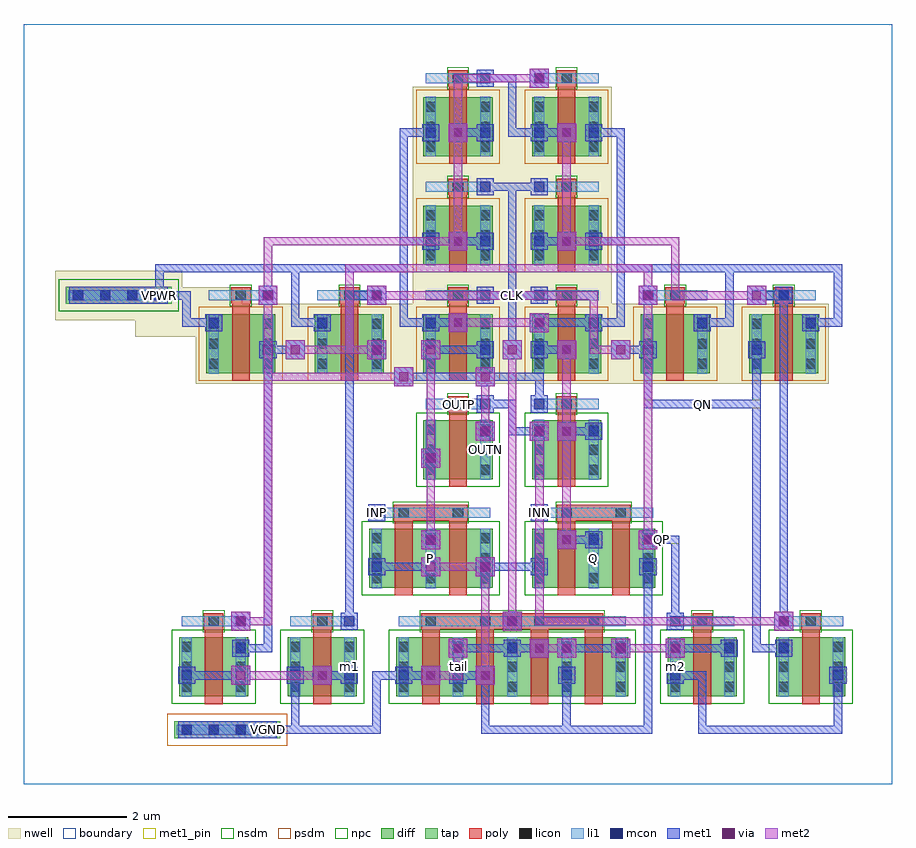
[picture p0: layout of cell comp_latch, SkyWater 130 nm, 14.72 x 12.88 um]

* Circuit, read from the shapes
.subckt comp_latch CLK INN INP OUTN OUTP P Q QN QP VGND VPWR m1 m2 tail
XM1 QP OUTN m1 VGND sky130_fd_pr__nfet_01v8 w=1 l=0.3
XM2 m1 QN VGND VGND sky130_fd_pr__nfet_01v8 w=1 l=0.3
XM3 P INP tail VGND sky130_fd_pr__nfet_01v8 w=1 l=0.3 m=2
XM4 tail CLK VGND VGND sky130_fd_pr__nfet_01v8 w=1 l=0.3 m=4
XM5 OUTN OUTP P VGND sky130_fd_pr__nfet_01v8 w=1 l=0.3
XM6 Q INN tail VGND sky130_fd_pr__nfet_01v8 w=1 l=0.3 m=2
XM7 Q OUTN OUTP VGND sky130_fd_pr__nfet_01v8 w=1 l=0.3
XM8 VGND QP m2 VGND sky130_fd_pr__nfet_01v8 w=1 l=0.3
XM9 m2 OUTP QN VGND sky130_fd_pr__nfet_01v8 w=1 l=0.3
XM10 QP OUTN VPWR VPWR sky130_fd_pr__pfet_01v8 w=1 l=0.3
XM11 QP QN VPWR VPWR sky130_fd_pr__pfet_01v8 w=1 l=0.3
XM12 P CLK VPWR VPWR sky130_fd_pr__pfet_01v8 w=1 l=0.3
XM13 OUTN CLK VPWR VPWR sky130_fd_pr__pfet_01v8 w=1 l=0.3
XM14 OUTN OUTP VPWR VPWR sky130_fd_pr__pfet_01v8 w=1 l=0.3
XM15 VPWR CLK Q VPWR sky130_fd_pr__pfet_01v8 w=1 l=0.3
XM16 VPWR CLK OUTP VPWR sky130_fd_pr__pfet_01v8 w=1 l=0.3
XM17 VPWR OUTN OUTP VPWR sky130_fd_pr__pfet_01v8 w=1 l=0.3
XM18 VPWR QP QN VPWR sky130_fd_pr__pfet_01v8 w=1 l=0.3
XM19 VPWR OUTP QN VPWR sky130_fd_pr__pfet_01v8 w=1 l=0.3
.ends

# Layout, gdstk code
import gdstk
lib = gdstk.Library(unit=1e-6, precision=1e-09)
def R(c, l, rs):  # rectangles x0, y0, x1, y1
    for r in rs: c.add(gdstk.rectangle(r[:2], r[2:], *l))
def A(c, l, x, y, w, h, nx, ny, dx, dy):  # array of equal rectangles
    R(c, l, [(x+i*dx, y+j*dy, x+i*dx+w, y+j*dy+h) for i in range(nx) for j in range(ny)])
nwell = (64, 20)
diff = (65, 20)
tap = (65, 44)
poly = (66, 20)
licon = (66, 44)
li1 = (67, 20)
mcon = (67, 44)
met1_pin = (68, 16)
met1 = (68, 20)
via = (68, 44)
met2 = (69, 20)
nsdm = (93, 44)
psdm = (94, 20)
npc = (95, 20)
boundary = (235, 4)

comp_latch = lib.new_cell('comp_latch')
R(comp_latch, nwell, [(2.915,6.78,13.645,7.58), (1.893,7.58,13.645,7.86), (0.535,7.86,13.645,8.14), (0.535,8.14,3.707,8.42), (6.595,8.14,9.965,11.82), (0.535,8.42,2.685,8.7)])
A(comp_latch, diff, 3.095, 6.96, 1.17, 1, 6, 1, 1.84, 0)
R(comp_latch, diff, [(2.635,1.485,3.805,2.485), (4.475,1.485,5.645,2.485), (6.315,1.485,10.245,2.485), (10.915,1.485,12.085,2.485), (12.755,1.485,13.925,2.485), (5.855,3.325,7.945,4.325), (8.615,3.325,10.705,4.325), (6.775,5.165,7.945,6.165), (8.615,5.165,9.785,6.165), (6.775,8.8,7.945,9.8), (8.615,8.8,9.785,9.8), (6.775,10.64,7.945,11.64), (8.615,10.64,9.785,11.64)])
R(comp_latch, tap, [(2.555,0.775,4.345,1.065), (0.715,8.135,2.505,8.425)])
A(comp_latch, poly, 3.07, 1.355, 0.3, 1.405, 3, 1, 1.84, 0)
A(comp_latch, poly, 7.67, 1.355, 0.3, 1.405, 3, 1, 0.92, 0)
A(comp_latch, poly, 3.53, 6.83, 0.3, 1.45, 6, 1, 1.84, 0)
A(comp_latch, poly, 3.515, 8.145, 0.33, 0.27, 6, 1, 1.84, 0)
R(comp_latch, poly, [(11.35,1.355,11.65,2.76), (13.19,1.355,13.49,2.76), (3.055,2.625,3.385,2.895), (4.895,2.625,5.225,2.895), (6.735,2.625,9.825,2.895), (11.335,2.625,11.665,2.895), (13.175,2.625,13.505,2.895), (6.29,3.195,6.59,4.6), (7.21,3.195,7.51,4.6), (9.05,3.195,9.35,4.6), (9.97,3.195,10.27,4.6), (6.275,4.465,7.525,4.735), (9.035,4.465,10.285,4.735), (7.21,5.035,7.51,6.44), (9.05,5.035,9.35,6.44), (7.195,6.305,7.525,6.575), (9.035,6.305,9.365,6.575), (7.21,8.67,7.51,10.12), (9.05,8.67,9.35,10.12), (7.195,9.985,7.525,10.255), (9.035,9.985,9.365,10.255), (7.21,10.51,7.51,11.96), (9.05,10.51,9.35,11.96), (7.195,11.825,7.525,12.095), (9.035,11.825,9.365,12.095)])
A(comp_latch, licon, 2.675, 0.835, 0.17, 0.17, 4, 1, 0.46, 0)
A(comp_latch, licon, 2.675, 1.56, 0.17, 0.17, 13, 3, 0.92, 0.34)
A(comp_latch, licon, 3.135, 2.675, 0.17, 0.17, 3, 1, 1.84, 0)
A(comp_latch, licon, 7.735, 2.675, 0.17, 0.17, 3, 1, 0.92, 0)
A(comp_latch, licon, 5.895, 3.4, 0.17, 0.17, 6, 3, 0.92, 0.34)
A(comp_latch, licon, 6.815, 5.24, 0.17, 0.17, 4, 3, 0.92, 0.34)
A(comp_latch, licon, 3.135, 7.035, 0.17, 0.17, 12, 3, 0.92, 0.34)
A(comp_latch, licon, 0.835, 8.195, 0.17, 0.17, 4, 1, 0.46, 0)
A(comp_latch, licon, 3.595, 8.195, 0.17, 0.17, 6, 1, 1.84, 0)
A(comp_latch, licon, 6.815, 8.875, 0.17, 0.17, 4, 3, 0.92, 0.34)
A(comp_latch, licon, 6.815, 10.715, 0.17, 0.17, 4, 3, 0.92, 0.34)
R(comp_latch, licon, [(11.415,2.675,11.585,2.845), (13.255,2.675,13.425,2.845), (6.355,4.515,6.525,4.685), (7.275,4.515,7.445,4.685), (9.115,4.515,9.285,4.685), (10.035,4.515,10.205,4.685), (7.275,6.355,7.445,6.525), (9.115,6.355,9.285,6.525), (7.275,10.035,7.445,10.205), (9.115,10.035,9.285,10.205), (7.275,11.875,7.445,12.045), (9.115,11.875,9.285,12.045)])
A(comp_latch, li1, 2.675, 1.48, 0.17, 1.01, 13, 1, 0.92, 0)
A(comp_latch, li1, 5.895, 3.32, 0.17, 1.01, 6, 1, 0.92, 0)
A(comp_latch, li1, 6.815, 5.16, 0.17, 1.01, 4, 2, 0.92, 3.635)
A(comp_latch, li1, 3.135, 6.955, 0.17, 1.01, 12, 1, 0.92, 0)
A(comp_latch, li1, 3.135, 8.195, 1.09, 0.17, 6, 1, 1.84, 0)
A(comp_latch, li1, 6.815, 10.635, 0.17, 1.01, 4, 1, 0.92, 0)
R(comp_latch, li1, [(2.595,0.835,4.305,1.005), (2.675,2.675,3.765,2.845), (4.515,2.675,5.605,2.845), (6.355,2.675,10.205,2.845), (10.955,2.675,12.045,2.845), (12.795,2.675,13.885,2.845), (5.895,4.515,7.905,4.685), (8.655,4.515,10.665,4.685), (6.815,6.355,7.905,6.525), (8.655,6.355,9.745,6.525), (0.755,8.195,2.465,8.365), (6.815,10.035,7.905,10.205), (8.655,10.035,9.745,10.205), (6.815,11.875,7.905,12.045), (8.655,11.875,9.745,12.045)])
A(comp_latch, mcon, 2.675, 0.835, 0.17, 0.17, 4, 1, 0.46, 0)
A(comp_latch, mcon, 4.515, 1.755, 0.17, 0.17, 4, 1, 0.92, 0)
A(comp_latch, mcon, 8.195, 2.215, 0.17, 0.17, 3, 1, 1.84, 0)
A(comp_latch, mcon, 5.435, 2.675, 0.17, 0.17, 3, 1, 2.76, 0)
A(comp_latch, mcon, 8.655, 4.515, 0.17, 0.17, 1, 5, 0, 1.84)
A(comp_latch, mcon, 7.735, 5.895, 0.17, 0.17, 3, 1, 0.92, 0)
A(comp_latch, mcon, 4.055, 7.275, 0.17, 0.17, 3, 2, 1.84, 0.92)
A(comp_latch, mcon, 8.655, 7.275, 0.17, 0.17, 3, 1, 1.84, 0)
A(comp_latch, mcon, 3.135, 7.735, 0.17, 0.17, 3, 1, 1.84, 0)
A(comp_latch, mcon, 9.575, 7.735, 0.17, 0.17, 3, 1, 1.84, 0)
A(comp_latch, mcon, 0.835, 8.195, 0.17, 0.17, 4, 1, 0.46, 0)
A(comp_latch, mcon, 6.815, 9.115, 0.17, 0.17, 4, 2, 0.92, 1.84)
R(comp_latch, mcon, [(2.675,1.755,2.845,1.925), (9.115,1.755,9.285,1.925), (10.955,1.755,11.125,1.925), (13.715,1.755,13.885,1.925), (3.595,2.215,3.765,2.385), (12.795,2.215,12.965,2.385), (3.595,2.675,3.765,2.845), (12.795,2.675,12.965,2.845), (5.895,3.595,6.065,3.765), (7.735,3.595,7.905,3.765), (8.655,3.595,8.825,3.765), (10.495,3.595,10.665,3.765), (6.815,4.055,6.985,4.225), (9.575,4.055,9.745,4.225), (5.895,4.515,6.065,4.685), (6.815,5.435,6.985,5.605), (7.735,6.355,7.905,6.525), (10.495,8.195,10.665,8.365), (12.795,8.195,12.965,8.365), (7.735,10.035,7.905,10.205), (7.735,11.875,7.905,12.045)])
R(comp_latch, met1_pin, [(4.07,0.85,4.21,0.99), (10.51,4.07,11.11,4.21), (5.835,4.455,6.125,4.745), (8.595,4.455,8.885,4.745), (10.51,6.37,12.49,6.51), (2.23,8.21,2.37,8.35), (7.75,8.21,8.81,8.35)])
A(comp_latch, met1, 9.13, 0.85, 0.14, 1.06, 3, 1, 2.3, 0)
A(comp_latch, met1, 4.455, 1.695, 0.29, 0.29, 4, 1, 0.92, 0)
A(comp_latch, met1, 9.04, 2.14, 0.32, 0.32, 3, 1, 0.92, 0)
A(comp_latch, met1, 8.135, 2.155, 0.29, 0.29, 3, 1, 1.84, 0)
A(comp_latch, met1, 7.29, 2.23, 1.06, 0.14, 3, 1, 1.84, 0)
A(comp_latch, met1, 3.52, 2.6, 0.32, 0.32, 3, 1, 4.6, 0)
A(comp_latch, met1, 5.375, 2.615, 0.29, 0.29, 3, 1, 2.76, 0)
A(comp_latch, met1, 8.595, 4.455, 0.29, 0.29, 1, 5, 0, 1.84)
A(comp_latch, met1, 7.675, 5.835, 0.29, 0.29, 3, 1, 0.92, 0)
A(comp_latch, met1, 8.12, 7.2, 0.32, 0.32, 3, 1, 0.92, 0)
A(comp_latch, met1, 3.995, 7.215, 0.29, 0.29, 3, 2, 1.84, 0.92)
A(comp_latch, met1, 8.595, 7.215, 0.29, 0.29, 3, 1, 1.84, 0)
A(comp_latch, met1, 8.67, 7.29, 0.6, 0.14, 1, 3, 0, 1.84)
A(comp_latch, met1, 3.075, 7.675, 0.29, 0.29, 3, 1, 1.84, 0)
A(comp_latch, met1, 9.515, 7.675, 0.29, 0.29, 3, 1, 1.84, 0)
A(comp_latch, met1, 2.69, 7.75, 0.6, 0.14, 3, 1, 1.84, 0)
A(comp_latch, met1, 9.59, 7.75, 0.6, 0.14, 3, 1, 1.84, 0)
A(comp_latch, met1, 6.755, 9.055, 0.29, 0.29, 4, 2, 0.92, 1.84)
A(comp_latch, met1, 6.37, 10.97, 0.6, 0.14, 3, 1, 0.92, 0)
R(comp_latch, met1, [(2.615,0.775,4.285,1.065), (4.07,0.85,6.05,0.99), (4.07,0.85,4.21,0.99), (4.53,0.85,4.67,1.91), (5.91,0.85,6.05,1.91), (7.75,0.85,7.89,1.91), (7.75,0.85,9.27,0.99), (9.13,0.85,10.65,0.99), (10.51,0.85,10.65,3.75), (11.43,0.85,13.87,0.99), (3.52,1.68,3.84,2), (4.9,1.68,5.22,2), (6.74,1.68,7.06,2), (7.66,1.68,7.98,2), (2.615,1.695,2.905,1.985), (9.055,1.695,9.345,1.985), (10.895,1.695,11.185,1.985), (13.655,1.695,13.945,1.985), (2.69,1.77,3.75,1.91), (4.99,1.77,5.59,1.91), (5.91,1.77,6.51,1.91), (6.37,1.77,6.97,1.91), (7.29,1.77,7.89,1.91), (10.97,1.77,11.57,1.91), (7.2,2.14,7.52,2.46), (8.58,2.14,8.9,2.46), (3.535,2.155,3.825,2.445), (12.735,2.155,13.025,2.445), (3.61,2.23,4.21,2.37), (4.07,2.23,4.21,7.43), (8.21,2.23,8.81,2.37), (12.35,2.23,12.95,2.37), (12.35,2.23,12.49,7.43), (3.535,2.615,3.825,2.905), (12.735,2.615,13.025,2.905), (5.45,2.69,5.59,8.35), (10.97,2.69,11.11,4.21), (12.81,2.69,12.95,8.35), (6.74,3.52,7.06,3.84), (7.66,3.52,7.98,3.84), (5.835,3.535,6.125,3.825), (7.675,3.535,7.965,3.825), (8.595,3.535,8.885,3.825), (10.435,3.535,10.725,3.825), (5.91,3.61,6.97,3.75), (7.75,3.61,8.81,3.75), (6.74,3.98,7.06,4.3), (9.04,3.98,9.36,4.3), (10.42,3.98,10.74,4.3), (6.755,3.995,7.045,4.285), (9.515,3.995,9.805,4.285), (9.13,4.07,9.73,4.21), (10.51,4.07,11.11,4.21), (5.835,4.455,6.125,4.745), (6.74,5.36,7.06,5.68), (6.755,5.375,7.045,5.665), (7.66,5.82,7.98,6.14), (8.58,5.82,8.9,6.14), (9.04,5.82,9.36,6.14), (8.21,5.91,8.81,6.05), (8.21,5.91,8.35,6.51), (9.13,5.91,9.73,6.05), (7.675,6.295,7.965,6.585), (7.75,6.37,8.35,6.51), (8.67,6.37,8.81,6.97), (10.51,6.37,12.49,6.51), (10.51,6.37,10.65,7.43), (6.28,6.74,6.6,7.06), (7.66,6.74,7.98,7.06), (6.37,6.83,7.89,6.97), (7.75,6.83,8.81,6.97), (4.44,7.2,4.76,7.52), (5.82,7.2,6.14,7.52), (6.74,7.2,7.06,7.52), (4.07,7.29,4.67,7.43), (6.83,7.29,7.89,7.43), (8.21,7.29,8.35,8.35), (10.05,7.29,10.65,7.43), (7.2,7.66,7.52,7.98), (8.58,7.66,8.9,7.98), (2.69,7.75,2.83,8.35), (4.53,7.75,4.67,8.81), (6.37,7.75,6.51,9.27), (6.83,7.75,7.43,7.89), (8.67,7.75,9.73,7.89), (10.05,7.75,10.19,9.27), (11.89,7.75,12.03,8.81), (13.73,7.75,13.87,8.81), (3.98,8.12,4.3,8.44), (5.82,8.12,6.14,8.44), (10.42,8.12,10.74,8.44), (12.26,8.12,12.58,8.44), (0.775,8.135,2.445,8.425), (10.435,8.135,10.725,8.425), (12.735,8.135,13.025,8.425), (2.23,8.21,2.83,8.35), (2.23,8.21,2.37,8.81), (2.23,8.21,2.37,8.35), (5.45,8.21,6.05,8.35), (7.75,8.21,8.81,8.35), (8.21,8.21,8.35,10.19), (12.35,8.21,12.95,8.35), (2.23,8.67,4.67,8.81), (4.53,8.67,6.51,8.81), (10.05,8.67,12.03,8.81), (11.89,8.67,13.87,8.81), (7.2,9.04,7.52,9.36), (9.04,9.04,9.36,9.36), (6.37,9.13,6.97,9.27), (6.37,9.13,6.51,11.11), (7.29,9.13,7.89,9.27), (9.59,9.13,10.19,9.27), (10.05,9.13,10.19,11.11), (7.675,9.975,7.965,10.265), (7.75,10.05,8.35,10.19), (8.21,10.05,8.81,10.19), (7.2,10.88,7.52,11.2), (9.04,10.88,9.36,11.2), (8.21,10.97,8.35,12.03), (9.59,10.97,10.19,11.11), (8.58,11.8,8.9,12.12), (7.675,11.815,7.965,12.105), (7.75,11.89,8.35,12.03)])
A(comp_latch, via, 9.125, 2.225, 0.15, 0.15, 3, 1, 0.92, 0)
A(comp_latch, via, 3.605, 2.685, 0.15, 0.15, 3, 1, 4.6, 0)
A(comp_latch, via, 8.205, 7.285, 0.15, 0.15, 3, 1, 0.92, 0)
R(comp_latch, via, [(3.605,1.765,3.755,1.915), (4.985,1.765,5.135,1.915), (6.825,1.765,6.975,1.915), (7.745,1.765,7.895,1.915), (7.285,2.225,7.435,2.375), (8.665,2.225,8.815,2.375), (6.825,3.605,6.975,3.755), (7.745,3.605,7.895,3.755), (6.825,4.065,6.975,4.215), (9.125,4.065,9.275,4.215), (10.505,4.065,10.655,4.215), (6.825,5.445,6.975,5.595), (7.745,5.905,7.895,6.055), (8.665,5.905,8.815,6.055), (9.125,5.905,9.275,6.055), (6.365,6.825,6.515,6.975), (7.745,6.825,7.895,6.975), (4.525,7.285,4.675,7.435), (5.905,7.285,6.055,7.435), (6.825,7.285,6.975,7.435), (7.285,7.745,7.435,7.895), (8.665,7.745,8.815,7.895), (4.065,8.205,4.215,8.355), (5.905,8.205,6.055,8.355), (10.505,8.205,10.655,8.355), (12.345,8.205,12.495,8.355), (7.285,9.125,7.435,9.275), (9.125,9.125,9.275,9.275), (7.285,10.965,7.435,11.115), (9.125,10.965,9.275,11.115), (8.665,11.885,8.815,12.035)])
A(comp_latch, met2, 9.04, 2.14, 0.32, 0.32, 3, 1, 0.92, 0)
A(comp_latch, met2, 3.52, 2.6, 0.32, 0.32, 3, 1, 4.6, 0)
A(comp_latch, met2, 8.12, 7.2, 0.32, 0.32, 3, 1, 0.92, 0)
R(comp_latch, met2, [(3.52,1.68,3.84,2), (4.9,1.68,5.22,2), (6.74,1.68,7.06,2), (7.66,1.68,7.98,2), (3.61,1.77,5.13,1.91), (6.83,1.77,7.43,1.91), (7.29,1.77,7.43,2.37), (7.75,1.77,7.89,3.75), (7.2,2.14,7.52,2.46), (8.58,2.14,8.9,2.46), (8.67,2.23,9.27,2.37), (10.05,2.23,11.11,2.37), (3.61,2.69,4.21,2.83), (4.07,2.69,4.21,6.97), (8.21,2.69,8.35,7.43), (8.67,2.69,8.81,6.05), (8.67,2.69,12.95,2.83), (6.74,3.52,7.06,3.84), (7.66,3.52,7.98,3.84), (6.83,3.61,7.89,3.75), (6.74,3.98,7.06,4.3), (9.04,3.98,9.36,4.3), (10.42,3.98,10.74,4.3), (6.83,4.07,6.97,5.59), (9.13,4.07,9.27,6.05), (10.51,4.07,10.65,8.35), (6.74,5.36,7.06,5.68), (6.83,5.45,6.97,7.43), (7.66,5.82,7.98,6.14), (8.58,5.82,8.9,6.14), (9.04,5.82,9.36,6.14), (7.75,5.91,7.89,6.97), (9.13,5.91,9.27,7.43), (6.28,6.74,6.6,7.06), (7.66,6.74,7.98,7.06), (4.07,6.83,4.21,8.35), (4.07,6.83,6.51,6.97), (4.44,7.2,4.76,7.52), (5.82,7.2,6.14,7.52), (6.74,7.2,7.06,7.52), (4.53,7.29,6.05,7.43), (5.45,7.29,5.59,8.81), (9.59,7.29,10.19,7.43), (9.59,7.29,9.73,8.35), (7.2,7.66,7.52,7.98), (8.58,7.66,8.9,7.98), (7.29,7.75,8.81,7.89), (3.98,8.12,4.3,8.44), (5.82,8.12,6.14,8.44), (10.42,8.12,10.74,8.44), (12.26,8.12,12.58,8.44), (4.07,8.21,4.21,9.27), (5.91,8.21,9.73,8.35), (10.51,8.21,10.65,8.81), (10.97,8.21,12.49,8.35), (10.97,8.21,11.11,9.27), (5.45,8.67,10.65,8.81), (7.2,9.04,7.52,9.36), (9.04,9.04,9.36,9.36), (4.07,9.13,7.43,9.27), (7.29,9.13,7.43,11.11), (9.13,9.13,9.27,11.11), (9.13,9.13,11.11,9.27), (7.2,10.88,7.52,11.2), (9.04,10.88,9.36,11.2), (7.29,10.97,7.43,12.03), (8.58,11.8,8.9,12.12), (7.29,11.89,8.81,12.03)])
R(comp_latch, nsdm, [(2.51,1.36,3.93,2.61), (4.35,1.36,5.77,2.61), (6.19,1.36,10.37,2.61), (10.79,1.36,12.21,2.61), (12.63,1.36,14.05,2.61), (5.73,3.2,8.07,4.45), (8.49,3.2,10.83,4.45), (6.65,5.04,8.07,6.29), (8.49,5.04,9.91,6.29), (0.59,8.01,2.63,8.55)])
A(comp_latch, psdm, 2.97, 6.835, 1.42, 1.25, 6, 1, 1.84, 0)
R(comp_latch, psdm, [(2.43,0.65,4.47,1.19), (6.65,8.675,8.07,9.925), (8.49,8.675,9.91,9.925), (6.65,10.515,8.07,11.765), (8.49,10.515,9.91,11.765)])
A(comp_latch, npc, 3.495, 8.095, 0.37, 0.37, 6, 1, 1.84, 0)
R(comp_latch, npc, [(3.035,2.575,3.405,2.945), (4.875,2.575,5.245,2.945), (6.715,2.575,9.845,2.945), (11.315,2.575,11.685,2.945), (13.155,2.575,13.525,2.945), (6.255,4.415,7.545,4.785), (9.015,4.415,10.305,4.785), (7.175,6.255,7.545,6.625), (9.015,6.255,9.385,6.625), (7.175,9.935,7.545,10.305), (9.015,9.935,9.385,10.305), (7.175,11.775,7.545,12.145), (9.015,11.775,9.385,12.145)])
R(comp_latch, boundary, [(0,0,14.72,12.88)])
comp_latch.add(gdstk.Label('tail', (7.36,1.985), layer=67, texttype=5))
comp_latch.add(gdstk.Label('P', (6.9,3.825), layer=67, texttype=5))
comp_latch.add(gdstk.Label('Q', (9.66,3.825), layer=67, texttype=5))
comp_latch.add(gdstk.Label('OUTP', (7.36,6.44), layer=67, texttype=5))
comp_latch.add(gdstk.Label('OUTN', (7.82,5.665), layer=67, texttype=5))
comp_latch.add(gdstk.Label('m1', (5.52,1.985), layer=67, texttype=5))
comp_latch.add(gdstk.Label('m2', (11.04,1.985), layer=67, texttype=5))
comp_latch.add(gdstk.Label('CLK', (8.28,8.28), layer=68, texttype=5))
comp_latch.add(gdstk.Label('INP', (5.98,4.6), layer=68, texttype=5))
comp_latch.add(gdstk.Label('INN', (8.74,4.6), layer=68, texttype=5))
comp_latch.add(gdstk.Label('QP', (10.81,4.14), layer=68, texttype=5))
comp_latch.add(gdstk.Label('QN', (11.5,6.44), layer=68, texttype=5))
comp_latch.add(gdstk.Label('VPWR', (2.3,8.28), layer=68, texttype=5))
comp_latch.add(gdstk.Label('VGND', (4.14,0.92), layer=68, texttype=5))
comp_latch.add(gdstk.Label('CLK', (8.28,8.28), layer=68, texttype=16))
comp_latch.add(gdstk.Label('INP', (5.98,4.6), layer=68, texttype=16))
comp_latch.add(gdstk.Label('INN', (8.74,4.6), layer=68, texttype=16))
comp_latch.add(gdstk.Label('QP', (10.81,4.14), layer=68, texttype=16))
comp_latch.add(gdstk.Label('QN', (11.5,6.44), layer=68, texttype=16))
comp_latch.add(gdstk.Label('VPWR', (2.3,8.28), layer=68, texttype=16))
comp_latch.add(gdstk.Label('VGND', (4.14,0.92), layer=68, texttype=16))

lib.write_gds('comp_latch.gds')
